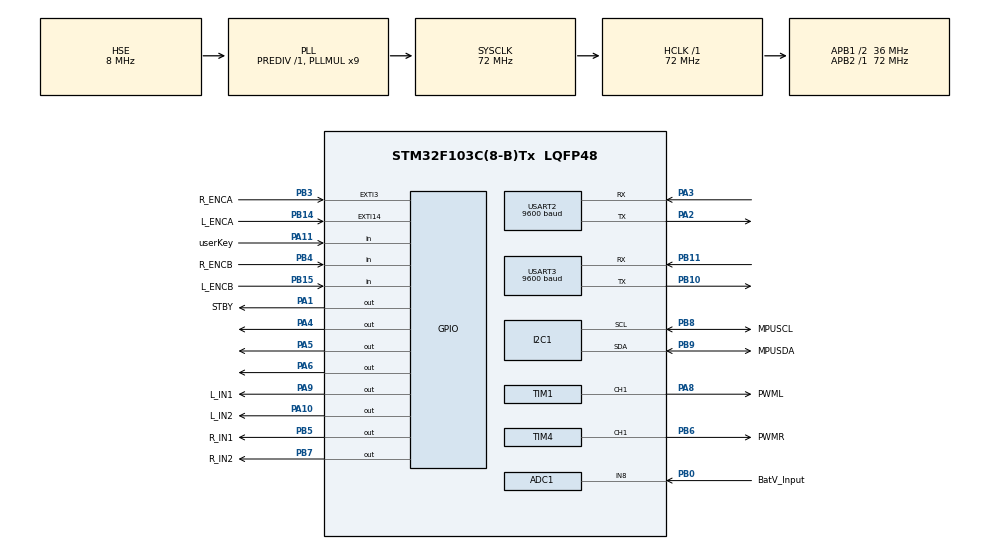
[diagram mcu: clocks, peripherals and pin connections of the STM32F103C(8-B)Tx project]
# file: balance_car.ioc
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ADC1.Channel-0\#ChannelRegularConversion=ADC_CHANNEL_8
ADC1.Channel-1\#ChannelInjectedConversion=ADC_CHANNEL_8
ADC1.ContinuousConvMode=DISABLE
ADC1.EnableInjectedConversion=ENABLE
ADC1.ExternalTrigInjecConv=ADC_EXTERNALTRIGINJECCONV_T2_TRGO
ADC1.InjNumberOfConversion=1
ADC1.InjectedOffset-1\#ChannelInjectedConversion=0
ADC1.InjectedRank-1\#ChannelInjectedConversion=1
ADC1.NbrOfConversion=1
ADC1.NbrOfConversionFlag=1
ADC1.Rank-0\#ChannelRegularConversion=1
ADC1.SamplingTime-0\#ChannelRegularConversion=ADC_SAMPLETIME_1CYCLE_5
ADC1.SamplingTime-1\#ChannelInjectedConversion=ADC_SAMPLETIME_7CYCLES_5
ADC1.master=1
I2C1.I2C_Mode=I2C_Fast
Mcu.Family=STM32F1
Mcu.Name=STM32F103C(8-B)Tx
Mcu.Package=LQFP48
NVIC.ADC1_2_IRQn=true\:0\:2\:false\:false\:true\:true\:true\:true
NVIC.EXTI15_10_IRQn=true\:0\:0\:false\:false\:true\:true\:true\:true
NVIC.EXTI3_IRQn=true\:0\:0\:false\:false\:true\:true\:true\:true
NVIC.PriorityGroup=NVIC_PRIORITYGROUP_0
NVIC.USART2_IRQn=true\:0\:1\:true\:false\:true\:true\:true\:true
NVIC.USART3_IRQn=true\:0\:0\:true\:false\:true\:true\:true\:true
PA1.GPIO_Label=STBY
PA1.GPIO_PuPd=GPIO_PULLDOWN
PA1.Signal=GPIO_Output
PA10.GPIO_Label=L_IN2
PA10.GPIO_PuPd=GPIO_PULLDOWN
PA10.Signal=GPIO_Output
PA11.GPIO_Label=userKey
PA11.GPIO_PuPd=GPIO_PULLUP
PA11.Signal=GPIO_Input
PA13.Mode=Serial_Wire
PA13.Signal=SYS_JTMS-SWDIO
PA14.Mode=Serial_Wire
PA14.Signal=SYS_JTCK-SWCLK
PA2.GPIO_Speed=GPIO_SPEED_FREQ_LOW
PA2.Mode=Asynchronous
PA2.Signal=USART2_TX
PA3.GPIO_PuPd=GPIO_PULLUP
PA3.Mode=Asynchronous
PA3.Signal=USART2_RX
PA4.Signal=GPIO_Output
PA5.Signal=GPIO_Output
PA6.Signal=GPIO_Output
PA8.GPIO_Label=PWML
PA8.Signal=S_TIM1_CH1
PA9.GPIO_Label=L_IN1
PA9.GPIO_PuPd=GPIO_PULLDOWN
PA9.Signal=GPIO_Output
PB0.GPIO_Label=BatV_Input
PB0.Signal=ADCx_IN8
PB10.GPIO_Speed=GPIO_SPEED_FREQ_LOW
PB10.Mode=Asynchronous
PB10.Signal=USART3_TX
PB11.GPIO_PuPd=GPIO_PULLUP
PB11.Mode=Asynchronous
PB11.Signal=USART3_RX
PB14.GPIO_Label=L_ENCA
PB14.GPIO_ModeDefaultEXTI=GPIO_MODE_IT_RISING_FALLING
PB14.Signal=GPXTI14
PB15.GPIO_Label=L_ENCB
PB15.GPIO_PuPd=GPIO_PULLUP
PB15.Signal=GPIO_Input
PB3.GPIO_Label=R_ENCA
PB3.GPIO_ModeDefaultEXTI=GPIO_MODE_IT_RISING_FALLING
PB3.Signal=GPXTI3
PB4.GPIO_Label=R_ENCB
PB4.GPIO_PuPd=GPIO_PULLUP
PB4.Signal=GPIO_Input
PB5.GPIO_Label=R_IN1
PB5.GPIO_PuPd=GPIO_PULLDOWN
PB5.Signal=GPIO_Output
PB6.GPIO_Label=PWMR
PB6.Signal=S_TIM4_CH1
PB7.GPIO_Label=R_IN2
PB7.GPIO_PuPd=GPIO_PULLDOWN
PB7.Signal=GPIO_Output
PB8.GPIO_Label=MPUSCL
PB8.GPIO_Speed=GPIO_SPEED_FREQ_LOW
PB8.Mode=I2C
PB8.Signal=I2C1_SCL
PB9.GPIO_Label=MPUSDA
PB9.GPIO_Speed=GPIO_SPEED_FREQ_LOW
PB9.Mode=I2C
PB9.Signal=I2C1_SDA
PD0-OSC_IN.Mode=HSE-External-Oscillator
PD0-OSC_IN.Signal=RCC_OSC_IN
PD1-OSC_OUT.Mode=HSE-External-Oscillator
PD1-OSC_OUT.Signal=RCC_OSC_OUT
ProjectManager.HeapSize=0x200
ProjectManager.StackSize=0x400
ProjectManager.TargetToolchain=CMake
RCC.ADCPresc=RCC_ADCPCLK2_DIV6
RCC.AHBFreq_Value=72000000
RCC.APB1CLKDivider=RCC_HCLK_DIV2
RCC.APB1Freq_Value=36000000
RCC.APB1TimFreq_Value=72000000
RCC.APB2Freq_Value=72000000
RCC.APB2TimFreq_Value=72000000
RCC.HCLKFreq_Value=72000000
RCC.PLLMUL=RCC_PLL_MUL9
RCC.PLLSourceVirtual=RCC_PLLSOURCE_HSE
RCC.SYSCLKFreq_VALUE=72000000
RCC.SYSCLKSource=RCC_SYSCLKSOURCE_PLLCLK
RCC.USBFreq_Value=72000000
SH.ADCx_IN8.0=ADC1_IN8,IN8
SH.S_TIM1_CH1.0=TIM1_CH1,PWM Generation1 CH1
SH.S_TIM4_CH1.0=TIM4_CH1,PWM Generation1 CH1
TIM1.AutoReloadPreload=TIM_AUTORELOAD_PRELOAD_ENABLE
TIM1.Channel-PWM\ Generation1\ CH1=TIM_CHANNEL_1
TIM1.Period=999
TIM2.AutoReloadPreload=TIM_AUTORELOAD_PRELOAD_ENABLE
TIM2.Period=9999
TIM2.Prescaler=71
TIM2.TIM_MasterOutputTrigger=TIM_TRGO_UPDATE
TIM4.AutoReloadPreload=TIM_AUTORELOAD_PRELOAD_ENABLE
TIM4.Channel-PWM\ Generation1\ CH1=TIM_CHANNEL_1
TIM4.Period=999
USART2.BaudRate=9600
USART2.VirtualMode=VM_ASYNC
USART3.BaudRate=9600
USART3.VirtualMode=VM_ASYNC
VP_TIM1_VS_ClockSourceINT.Mode=Internal
VP_TIM2_VS_ClockSourceINT.Mode=Internal
VP_TIM4_VS_ClockSourceINT.Mode=Internal
board=custom

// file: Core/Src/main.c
/* USER CODE BEGIN Header */
/**
  ******************************************************************************
  * @file           : main.c
  * @brief          : Main program body
  ******************************************************************************
  * @attention
  *
  * Copyright (c) 2026 STMicroelectronics.
  * All rights reserved.
  *
  * This software is licensed under terms that can be found in the LICENSE file
  * in the root directory of this software component.
  * If no LICENSE file comes with this software, it is provided AS-IS.
  *
  ******************************************************************************
  */
/* USER CODE END Header */
#include "main.h"
#include "adc.h"
#include "i2c.h"
#include "tim.h"
#include "usart.h"
#include "gpio.h"

/* USER CODE BEGIN Includes */
#include "app_bat.h"
#include "app_button.h"
#include "app_pwm.h"
#include "app_encoder.h"
#include "app_usart2.h"
#include "app_motor.h"
#include "app_control.h"
#include"app_mpu6050.h"
#include "app_rc.h"
#include "common.h"

/* USER CODE END Includes */

/* USER CODE BEGIN PV */
// static float targetOmega;
/* USER CODE END PV */

void SystemClock_Config(void);
/* USER CODE BEGIN PFP */
// static void USART2_Proc(void);
/* USER CODE END PFP */

int main(void)
{

  /* MCU Configuration--------------------------------------------------------*/

  /* Reset of all peripherals, Initializes the Flash interface and the Systick. */
  HAL_Init();

  /* Configure the system clock */
  SystemClock_Config();

  /* Initialize all configured peripherals */
  MX_GPIO_Init();
  MX_ADC1_Init();
  MX_TIM2_Init();
  MX_USART2_UART_Init();
  MX_USART3_UART_Init();
  MX_TIM1_Init();
  MX_TIM4_Init();
  MX_I2C1_Init();
  /* USER CODE BEGIN 2 */
  User_Key_Init();
  App_Bat_Init();
  App_PWM_Init();
  App_Motor_Init(); //PID+限幅
  App_MPU6050_Init(); //MPU6050初始化
  App_Control_Init(); //控制模块初始化
  App_RC_Init(); //临时使用USART2接收电脑遥控指令

  /* USER CODE END 2 */

  /* Infinite loop */
  /* USER CODE BEGIN WHILE */
  while (1)
  {
    App_Bat_Proc();
    User_Key_Proc();
    App_Motor_Proc();
    App_MPU6050_Proc();
    App_Control_Proc();
    App_RC_Proc();
    /* USER CODE END WHILE */

  }
}

void SystemClock_Config(void)
{
  RCC_OscInitTypeDef RCC_OscInitStruct = {0};
  RCC_ClkInitTypeDef RCC_ClkInitStruct = {0};
  RCC_PeriphCLKInitTypeDef PeriphClkInit = {0};

  /** Initializes the RCC Oscillators according to the specified parameters
  * in the RCC_OscInitTypeDef structure.
  */
  RCC_OscInitStruct.OscillatorType = RCC_OSCILLATORTYPE_HSE;
  RCC_OscInitStruct.HSEState = RCC_HSE_ON;
  RCC_OscInitStruct.HSEPredivValue = RCC_HSE_PREDIV_DIV1;
  RCC_OscInitStruct.HSIState = RCC_HSI_ON;
  RCC_OscInitStruct.PLL.PLLState = RCC_PLL_ON;
  RCC_OscInitStruct.PLL.PLLSource = RCC_PLLSOURCE_HSE;
  RCC_OscInitStruct.PLL.PLLMUL = RCC_PLL_MUL9;
  if (HAL_RCC_OscConfig(&RCC_OscInitStruct) != HAL_OK)
  {
    Error_Handler();
  }

  /** Initializes the CPU, AHB and APB buses clocks
  */
  RCC_ClkInitStruct.ClockType = RCC_CLOCKTYPE_HCLK|RCC_CLOCKTYPE_SYSCLK
                              |RCC_CLOCKTYPE_PCLK1|RCC_CLOCKTYPE_PCLK2;
  RCC_ClkInitStruct.SYSCLKSource = RCC_SYSCLKSOURCE_PLLCLK;
  RCC_ClkInitStruct.AHBCLKDivider = RCC_SYSCLK_DIV1;
  RCC_ClkInitStruct.APB1CLKDivider = RCC_HCLK_DIV2;
  RCC_ClkInitStruct.APB2CLKDivider = RCC_HCLK_DIV1;

  if (HAL_RCC_ClockConfig(&RCC_ClkInitStruct, FLASH_LATENCY_2) != HAL_OK)
  {
    Error_Handler();
  }
  PeriphClkInit.PeriphClockSelection = RCC_PERIPHCLK_ADC;
  PeriphClkInit.AdcClockSelection = RCC_ADCPCLK2_DIV6;
  if (HAL_RCCEx_PeriphCLKConfig(&PeriphClkInit) != HAL_OK)
  {
    Error_Handler();
  }
}

void Error_Handler(void)
{
  __disable_irq();
  while (1)
  {
  }
}
